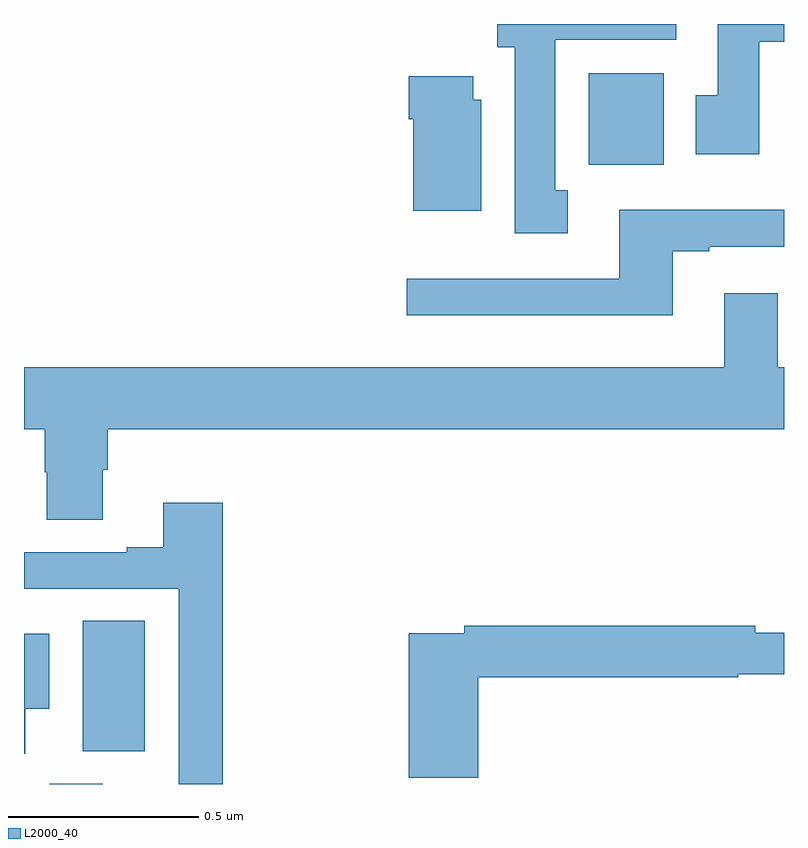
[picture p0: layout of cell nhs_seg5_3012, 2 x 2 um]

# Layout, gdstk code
import gdstk
lib = gdstk.Library(unit=1e-6, precision=1e-09)
def R(c, l, rs):  # rectangles x0, y0, x1, y1
    for r in rs: c.add(gdstk.rectangle(r[:2], r[2:], *l))
def P(c, l, *ps):  # polygons
    for p in ps: c.add(gdstk.Polygon(p, *l))
L2000_40 = (2000, 40)

nhs_seg5_3012 = lib.new_cell('nhs_seg5_3012')
R(nhs_seg5_3012, L2000_40, [(151.067,883.799,151.207,883.8), (151.154,883.885,151.318,884.228), (152.486,885.428,152.683,885.67)])
P(nhs_seg5_3012, L2000_40, [(152.935,885.752),(153,885.752),(153,885.799),(152.825,885.799),(152.825,885.612),(152.768,885.612),(152.768,885.456),(152.935,885.456)],
  [(152.431,885.362),(152.398,885.362),(152.398,885.758),(152.716,885.758),(152.716,885.799),(152.246,885.799),(152.246,885.738),(152.291,885.738),(152.291,885.249),(152.431,885.249)],
  [(152.203,885.6),(152.182,885.6),(152.182,885.661),(152.012,885.661),(152.012,885.548),(152.024,885.548),(152.024,885.308),(152.203,885.308)],
  [(152.707,885.201),(152.803,885.201),(152.803,885.213),(153,885.213),(153,885.31),(152.567,885.31),(152.567,885.129),(152.007,885.129),(152.007,885.032),(152.707,885.032)],
  [(151.207,884.626),(151.22,884.626),(151.22,884.732),(153,884.732),(153,884.896),(152.983,884.896),(152.983,885.091),(152.843,885.091),(152.843,884.896),(151,884.896),(151,884.732),(151.055,884.732),(151.055,884.619),(151.06,884.619),(151.06,884.494),(151.207,884.494)],
  [(151.523,884.539),(151.367,884.539),(151.367,884.422),(151.271,884.422),(151.271,884.409),(151,884.409),(151,884.313),(151.407,884.313),(151.407,883.799),(151.523,883.799)],
  [(152.195,884.08),(152.88,884.08),(152.88,884.088),(153,884.088),(153,884.197),(152.924,884.197),(152.924,884.216),(152.158,884.216),(152.158,884.196),(152.012,884.196),(152.012,883.815),(152.195,883.815)],
  [(151.003,883.997),(151.066,883.997),(151.066,884.194),(151,884.194),(151,883.878),(151.003,883.878)])

lib.write_gds('nhs_seg5_3012.gds')
